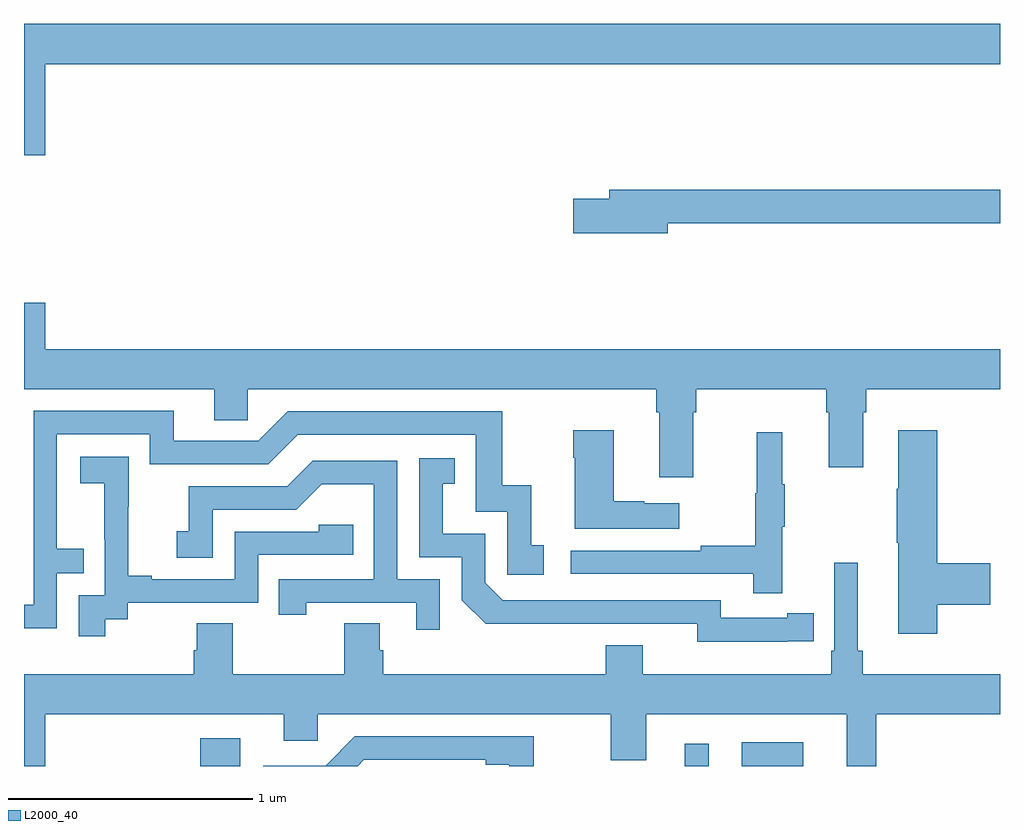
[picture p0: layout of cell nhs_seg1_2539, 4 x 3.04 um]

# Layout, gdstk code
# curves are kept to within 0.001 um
import gdstk
lib = gdstk.Library(unit=1e-6, precision=1e-09)
def R(c, l, rs):  # rectangles x0, y0, x1, y1
    for r in rs: c.add(gdstk.rectangle(r[:2], r[2:], *l))
def P(c, l, *ps):  # polygons
    for p in ps: c.add(gdstk.Polygon(p, *l))
L2000_40 = (2000, 40)

nhs_seg1_2539 = lib.new_cell('nhs_seg1_2539')
R(nhs_seg1_2539, L2000_40, [(249.722,538.199,249.886,538.312), (251.708,538.199,251.806,538.291), (251.942,538.199,252.193,538.297)])
P(nhs_seg1_2539, L2000_40, [(249.088,541.076),(253,541.076),(253,541.24),(249,541.24),(249,540.702),(249.088,540.702)],
  [(251.638,540.424),(253,540.424),(253,540.56),(251.399,540.56),(251.399,540.524),(251.25,540.524),(251.25,540.382),(251.638,540.382)],
  [(251.743,539.648),(251.756,539.648),(251.756,539.744),(252.287,539.744),(252.287,539.648),(252.299,539.648),(252.299,539.424),(252.439,539.424),(252.439,539.648),(252.452,539.648),(252.452,539.744),(253,539.744),(253,539.908),(249.088,539.908),(249.088,540.097),(249,540.097),(249,539.744),(249.779,539.744),(249.779,539.617),(249.918,539.617),(249.918,539.744),(251.591,539.744),(251.591,539.648),(251.603,539.648),(251.603,539.382),(251.743,539.382)],
  [(249.135,538.989),(249.245,538.989),(249.245,539.09),(249.135,539.09),(249.135,539.559),(249.516,539.559),(249.516,539.436),(250.002,539.436),(250.122,539.556),(250.851,539.556),(250.851,539.241),(250.98,539.241),(250.98,538.983),(251.131,538.983),(251.131,539.103),(251.078,539.103),(251.078,539.35),(250.96,539.35),(250.96,539.652),(250.08,539.652),(249.96,539.532),(249.613,539.532),(249.613,539.655),(249.039,539.655),(249.039,538.86),(249,538.86),(249,538.764),(249.135,538.764)],
  [(252.743,538.859),(252.961,538.859),(252.961,539.03),(252.743,539.03),(252.743,539.575),(252.584,539.575),(252.584,539.336),(252.577,539.336),(252.577,539.113),(252.584,539.113),(252.584,538.74),(252.743,538.74)],
  [(251.686,539.275),(251.543,539.275),(251.543,539.285),(251.416,539.285),(251.416,539.575),(251.251,539.575),(251.251,539.462),(251.258,539.462),(251.258,539.171),(251.686,539.171)],
  [(252.107,539.179),(252.118,539.179),(252.118,539.353),(252.107,539.353),(252.107,539.566),(252.004,539.566),(252.004,539.316),(251.997,539.316),(251.997,539.102),(251.773,539.102),(251.773,539.082),(251.241,539.082),(251.241,538.986),(251.989,538.986),(251.989,538.908),(252.107,538.908)],
  [(249.334,538.801),(249.426,538.801),(249.426,538.869),(249.96,538.869),(249.96,539.064),(250.349,539.064),(250.349,539.187),(250.209,539.187),(250.209,539.16),(249.864,539.16),(249.864,538.965),(249.523,538.965),(249.523,538.978),(249.428,538.978),(249.428,539.261),(249.429,539.261),(249.429,539.467),(249.231,539.467),(249.231,539.357),(249.329,539.357),(249.329,539.129),(249.33,539.129),(249.33,538.899),(249.225,538.899),(249.225,538.731),(249.334,538.731)],
  [(252.128,538.71),(252.236,538.71),(252.236,538.826),(252.128,538.826),(252.128,538.806),(251.856,538.806),(251.856,538.878),(250.962,538.878),(250.89,538.95),(250.89,539.151),(250.717,539.151),(250.717,539.355),(250.766,539.355),(250.766,539.461),(250.62,539.461),(250.62,539.055),(250.794,539.055),(250.794,538.878),(250.892,538.781),(251.76,538.782),(251.76,538.709)],
  [(250.704,538.965),(250.53,538.965),(250.53,539.451),(250.184,539.451),(250.079,539.346),(249.676,539.346),(249.676,539.161),(249.627,539.161),(249.627,539.052),(249.774,539.052),(249.774,539.25),(250.116,539.25),(250.22,539.354),(250.434,539.354),(250.434,538.965),(250.045,538.965),(250.045,538.818),(250.156,538.818),(250.156,538.869),(250.607,538.869),(250.607,538.758),(250.704,538.758)],
  [(249.088,538.412),(250.064,538.412),(250.064,538.302),(250.203,538.302),(250.203,538.412),(251.404,538.412),(251.404,538.222),(251.551,538.222),(251.551,538.412),(252.371,538.412),(252.371,538.199),(252.493,538.199),(252.493,538.412),(253,538.412),(253,538.576),(252.437,538.576),(252.437,538.672),(252.418,538.672),(252.418,539.032),(252.321,539.032),(252.321,538.672),(252.308,538.672),(252.308,538.576),(251.536,538.576),(251.536,538.693),(251.384,538.693),(251.384,538.576),(250.472,538.576),(250.472,538.674),(250.459,538.674),(250.459,538.784),(250.312,538.784),(250.312,538.576),(249.855,538.576),(249.855,538.784),(249.707,538.784),(249.707,538.674),(249.695,538.674),(249.695,538.576),(249,538.576),(249,538.199),(249.088,538.199)],
  [(250.392,538.224),(250.892,538.224),(250.892,538.204),(250.988,538.204),(250.988,538.199),(251.09,538.199),(251.09,538.32),(250.356,538.32),(250.236,538.2),(249.981,538.2),(249.981,538.199),(250.367,538.199)])

lib.write_gds('nhs_seg1_2539.gds')
